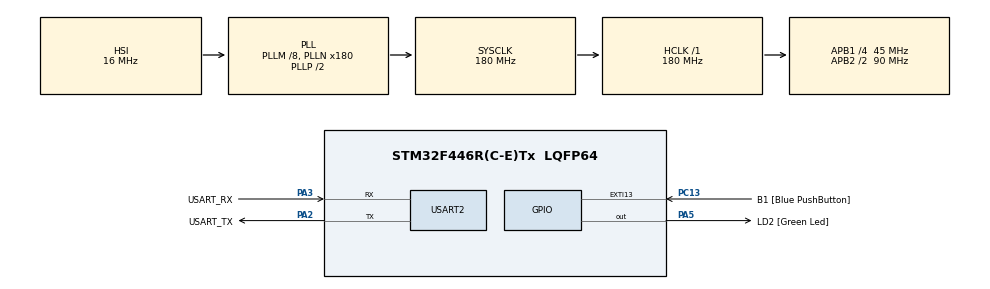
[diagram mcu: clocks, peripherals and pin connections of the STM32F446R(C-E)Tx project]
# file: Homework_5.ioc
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Mcu.Family=STM32F4
Mcu.Name=STM32F446R(C-E)Tx
Mcu.Package=LQFP64
NVIC.PriorityGroup=NVIC_PRIORITYGROUP_0
PA13.GPIO_Label=TMS
PA13.Mode=Serial_Wire
PA13.Signal=SYS_JTMS-SWDIO
PA14.GPIO_Label=TCK
PA14.Mode=Serial_Wire
PA14.Signal=SYS_JTCK-SWCLK
PA2.GPIO_Label=USART_TX
PA2.Mode=Asynchronous
PA2.Signal=USART2_TX
PA3.GPIO_Label=USART_RX
PA3.Mode=Asynchronous
PA3.Signal=USART2_RX
PA5.GPIO_Label=LD2 [Green Led]
PA5.Signal=GPIO_Output
PB3.GPIO_Label=SWO
PB3.Signal=SYS_JTDO-SWO
PC13.GPIO_Label=B1 [Blue PushButton]
PC13.GPIO_ModeDefaultEXTI=GPIO_MODE_IT_FALLING
PC13.Signal=GPXTI13
PC14-OSC32_IN.Mode=LSE-External-Oscillator
PC14-OSC32_IN.Signal=RCC_OSC32_IN
PC15-OSC32_OUT.Mode=LSE-External-Oscillator
PC15-OSC32_OUT.Signal=RCC_OSC32_OUT
PH0-OSC_IN.Mode=HSE-External-Oscillator
PH0-OSC_IN.Signal=RCC_OSC_IN
PH1-OSC_OUT.Mode=HSE-External-Oscillator
PH1-OSC_OUT.Signal=RCC_OSC_OUT
ProjectManager.HeapSize=0x800
ProjectManager.StackSize=0x800
ProjectManager.TargetToolchain=STM32CubeIDE
RCC.48MHZClocksFreq_Value=84000000
RCC.AHBFreq_Value=180000000
RCC.APB1CLKDivider=RCC_HCLK_DIV4
RCC.APB1Freq_Value=45000000
RCC.APB1TimFreq_Value=90000000
RCC.APB2CLKDivider=RCC_HCLK_DIV2
RCC.APB2Freq_Value=90000000
RCC.APB2TimFreq_Value=180000000
RCC.CortexFreq_Value=180000000
RCC.FLatency-AdvancedSettings=FLASH_LATENCY_5
RCC.HCLKFreq_Value=180000000
RCC.HSE_VALUE=8000000
RCC.HSI_VALUE=16000000
RCC.PLLM=8
RCC.PLLN=180
RCC.PLLP=2
RCC.SYSCLKFreq_VALUE=180000000
RCC.SYSCLKSource=RCC_SYSCLKSOURCE_PLLCLK
RCC.USBFreq_Value=180000000
RCC.VCOOutputFreq_Value=360000000
STMicroelectronics.X-CUBE-AI.10.2.0.ActivationBufferSizeList=2788
STMicroelectronics.X-CUBE-AI.10.2.0.ActivationBuffers=pool0
STMicroelectronics.X-CUBE-AI.10.2.0.ActivationNames=pool0
STMicroelectronics.X-CUBE-AI.10.2.0.ActivationSizes=AI_NETWORK_DATA_ACTIVATION_1_SIZE
STMicroelectronics.X-CUBE-AI.10.2.0.HeapSize=0x800
STMicroelectronics.X-CUBE-AI.10.2.0.InternalRamActivationBufferMaxSize=AI_NETWORK_DATA_ACTIVATIONS_SIZE
STMicroelectronics.X-CUBE-AI.10.2.0.LatestDirectoryUsed-78f40277c6f292608998ed963c3e166811830ff1e5171788d631672048b49704=D\:\\Ozel\\stm\\Homework_5_1\\Python
STMicroelectronics.X-CUBE-AI.10.2.0.MaximumNumberOfInputLayer=1
STMicroelectronics.X-CUBE-AI.10.2.0.MaximumNumberOfOutputLayer=1
STMicroelectronics.X-CUBE-AI.10.2.0.MaximumSizeOfInputLayer=1
STMicroelectronics.X-CUBE-AI.10.2.0.MaximumSizeOfOutputLayer=1
STMicroelectronics.X-CUBE-AI.10.2.0.ModelActualCompression-78f40277c6f292608998ed963c3e166811830ff1e5171788d631672048b49704=0.0
STMicroelectronics.X-CUBE-AI.10.2.0.ModelCompression-78f40277c6f292608998ed963c3e166811830ff1e5171788d631672048b49704=None
STMicroelectronics.X-CUBE-AI.10.2.0.ModelFlashOccupation-78f40277c6f292608998ed963c3e166811830ff1e5171788d631672048b49704=60740
STMicroelectronics.X-CUBE-AI.10.2.0.ModelHashList=78f40277c6f292608998ed963c3e166811830ff1e5171788d631672048b49704
STMicroelectronics.X-CUBE-AI.10.2.0.ModelKind-78f40277c6f292608998ed963c3e166811830ff1e5171788d631672048b49704=TFLITE
STMicroelectronics.X-CUBE-AI.10.2.0.ModelMacc-78f40277c6f292608998ed963c3e166811830ff1e5171788d631672048b49704=12860
STMicroelectronics.X-CUBE-AI.10.2.0.ModelName-78f40277c6f292608998ed963c3e166811830ff1e5171788d631672048b49704=network
STMicroelectronics.X-CUBE-AI.10.2.0.ModelNameList=network
STMicroelectronics.X-CUBE-AI.10.2.0.ModelRamOccupation-78f40277c6f292608998ed963c3e166811830ff1e5171788d631672048b49704=2788
STMicroelectronics.X-CUBE-AI.10.2.0.ModelStructureFile-78f40277c6f292608998ed963c3e166811830ff1e5171788d631672048b49704=/D\:/Ozel/stm/Homework_5_1/Python/model.tflite
STMicroelectronics.X-CUBE-AI.10.2.0.ModelType-78f40277c6f292608998ed963c3e166811830ff1e5171788d631672048b49704=STM32Cube.AI MCU runtime
STMicroelectronics.X-CUBE-AI.10.2.0.ReadyForCodeGeneration=true
STMicroelectronics.X-CUBE-AI.10.2.0.StackSize=0x800
STMicroelectronics.X-CUBE-AI.10.2.0.WorkingBufferStartAddrList=0xFFFFFFFF
STMicroelectronics.X-CUBE-AI.10.2.0.XAaCUBEAaAICcArtificialOoIntelligenceJjCore=true
STMicroelectronics.X-CUBE-AI.10.2.0.copyWeightToRam=false
STMicroelectronics.X-CUBE-AI.10.2.0.copyWeightToRam-78f40277c6f292608998ed963c3e166811830ff1e5171788d631672048b49704=false
STMicroelectronics.X-CUBE-AI.10.2.0.customLayerConfigEnabled=false
STMicroelectronics.X-CUBE-AI.10.2.0.customLayerConfigEnabled-78f40277c6f292608998ed963c3e166811830ff1e5171788d631672048b49704=false
STMicroelectronics.X-CUBE-AI.10.2.0.noOnnxIoTranspose=false
STMicroelectronics.X-CUBE-AI.10.2.0.noOnnxIoTranspose-78f40277c6f292608998ed963c3e166811830ff1e5171788d631672048b49704=false
STMicroelectronics.X-CUBE-AI.10.2.0.useInputAllocation=true
STMicroelectronics.X-CUBE-AI.10.2.0.useInputAllocation-78f40277c6f292608998ed963c3e166811830ff1e5171788d631672048b49704=true
STMicroelectronics.X-CUBE-AI.10.2.0.useOutputAllocation=true
STMicroelectronics.X-CUBE-AI.10.2.0.useOutputAllocation-78f40277c6f292608998ed963c3e166811830ff1e5171788d631672048b49704=true
USART2.VirtualMode=VM_ASYNC
VP_CRC_VS_CRC.Mode=CRC_Activate
VP_STMicroelectronics.X-CUBE-AI_VS_ArtificialOoIntelligenceJjXAaCUBEAaAI_10.2.0.Mode=ArtificialOoIntelligenceJjXAaCUBEAaAI
board=NUCLEO-F446RE

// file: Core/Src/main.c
/* USER CODE BEGIN Header */
/**
  ******************************************************************************
  * @file           : main.c
  * @brief          : Main program body
  ******************************************************************************
  * @attention
  *
  * Copyright (c) 2025 STMicroelectronics.
  * All rights reserved.
  *
  * This software is licensed under terms that can be found in the LICENSE file
  * in the root directory of this software component.
  * If no LICENSE file comes with this software, it is provided AS-IS.
  *
  ******************************************************************************
  */
/* USER CODE END Header */
#include "main.h"
#include "ai_platform.h"
#include "network.h"
#include "network_data.h"
#include "mfcc_data.h"
#include <math.h>
#include "mfcc_data.h"
/* USER CODE BEGIN Includes */
ai_u8 activation_data[AI_NETWORK_DATA_ACTIVATIONS_SIZE];
ai_float ai_in_data[AI_NETWORK_IN_1_SIZE];
ai_float ai_out_data[AI_NETWORK_OUT_1_SIZE];
ai_handle network = AI_HANDLE_NULL;
/* USER CODE END Includes */
int global_sonuc = -1;
int global_sayac = 0;
/* USER CODE BEGIN PTD */
float received_audio[6144]; // 6 parça ses bekliyoruz
float real_buf[1024]; // FFT Reel Kısmı
float imag_buf[1024]; // FFT Sanal Kısmı
float mel_buf[20];
/* USER CODE END PTD */

/* USER CODE BEGIN PD */

// FFT Handler

void pure_fft(float *real, float *imag, int n) {
    // 1. Bit-reversal Permutation
    int j = 0;
    for (int i = 0; i < n; i++) {
        if (j > i) {
            // Swap Real
            float temp = real[j]; real[j] = real[i]; real[i] = temp;
            // Swap Imag
            temp = imag[j]; imag[j] = imag[i]; imag[i] = temp;
        }
        int m = n / 2;
        while (m >= 1 && j >= m) {
            j -= m;
            m /= 2;
        }
        j += m;
    }

    // 2. Danielson-Lanczos (Butterfly)
    for (int m = 1; m < n; m *= 2) { // Adım boyutu
        float wm_r = cosf(M_PI / m); // W_m Real (Euler)
        float wm_i = -sinf(M_PI / m); // W_m Imag (Euler)

        // Trigonometrik yineleme için
        float w_r = 1.0f;
        float w_i = 0.0f;

        for (int k = 0; k < m; k++) { // Kelebek işlemleri
            for (int i = k; i < n; i += 2 * m) {
                int j = i + m;
                // Karmaşık çarpma: t = w * data[j]
                float t_r = w_r * real[j] - w_i * imag[j];
                float t_i = w_r * imag[j] + w_i * real[j];

                // Kelebek toplama/çıkarma
                float u_r = real[i];
                float u_i = imag[i];

                real[i] = u_r + t_r;
                imag[i] = u_i + t_i;
                real[j] = u_r - t_r;
                imag[j] = u_i - t_i;
            }
            // W değerini güncelle: w = w * wm
            float temp_r = w_r * wm_r - w_i * wm_i;
            w_i = w_r * wm_i + w_i * wm_r;
            w_r = temp_r;
        }
    }
}

// --- 2. MFCC ÇIKARMA FONKSİYONU ---
void Extract_Features_Pure(float* input_audio, float* mfcc_output) {

    // A. Pre-emphasis & Windowing
    float prev = input_audio[0] * 32768.0f;

    for (int i = 0; i < 1024; i++) {
        float current = input_audio[i] * 32768.0f;

        // Pre-emphasis
        float val = (i > 0) ? (current - 0.97f * prev) : current;
        prev = current;

        // Windowing
        real_buf[i] = val * hamming_window[i];
        imag_buf[i] = 0.0f;
    }

    // B. FFT
    pure_fft(real_buf, imag_buf, 1024);

    // C. Power Spectrum (|Mag|^2 / N)
    for(int i=0; i < 513; i++) {
        float mag_sq = (real_buf[i] * real_buf[i]) + (imag_buf[i] * imag_buf[i]);
        real_buf[i] = mag_sq / 512.0f;
    }

    // D. Mel Filterbank
    for (int i = 0; i < 20; i++) {
        float sum = 0.0f;
        for (int j = 0; j < 513; j++) {
            sum += mel_filters[i * 513 + j] * real_buf[j];
        }
        if (sum < 1e-6f) sum = 1e-6f;
        mel_buf[i] = 20.0f * log10f(sum);
    }

    // E. DCT (Matris Çarpımı)
    for (int i = 0; i < 13; i++) {
        float sum = 0.0f;
        for (int j = 0; j < 20; j++) {
            // Header dosyasından gelen dct_matrix
            sum += dct_matrix[i * 20 + j] * mel_buf[j];
        }
        mfcc_output[i] = sum;
    }
}
/* USER CODE END PD */

CRC_HandleTypeDef hcrc;

UART_HandleTypeDef huart2;

void SystemClock_Config(void);
static void MX_GPIO_Init(void);
static void MX_USART2_UART_Init(void);
static void MX_CRC_Init(void);

int main(void)
{
  HAL_Init();
  SystemClock_Config();
  MX_GPIO_Init();
  MX_USART2_UART_Init();
  MX_CRC_Init();
  ai_error err;
    ai_network_create(&network, AI_NETWORK_DATA_CONFIG);
    ai_network_params params = {
        .params = AI_NETWORK_DATA_WEIGHTS(ai_network_data_weights_get()),
        .activations = AI_NETWORK_DATA_ACTIVATIONS(activation_data)
    };
    ai_network_init(network, &params);

  /* USER CODE BEGIN WHILE */
    while (1)
      {

        if (HAL_UART_Receive(&huart2, (uint8_t*)received_audio, 6144 * sizeof(float), 5000) == HAL_OK)
        {
            float avg_mfcc[13] = {0.0f};
            int num_chunks = 6;

            for(int c=0; c<num_chunks; c++) {
                float temp_mfcc[13];
                Extract_Features_Pure(&received_audio[c*1024], temp_mfcc);
                for(int k=0; k<13; k++) avg_mfcc[k] += temp_mfcc[k];
            }

            for(int k=0; k<13; k++) ai_in_data[k] = avg_mfcc[k] / (float)num_chunks;

            ai_i32 n_batch;
            ai_buffer* net_inputs = ai_network_inputs_get(network, &n_batch);
            ai_buffer* net_outputs = ai_network_outputs_get(network, &n_batch);

            ai_buffer ai_input_buf = net_inputs[0];
            ai_buffer ai_output_buf = net_outputs[0];

            ai_input_buf.data = AI_HANDLE_PTR(ai_in_data);
            ai_output_buf.data = AI_HANDLE_PTR(ai_out_data);

            ai_i32 batch = ai_network_run(network, &ai_input_buf, &ai_output_buf);

            if (batch != 1) {
                 global_sonuc = -2; // Hata
            } else {
                // Sonucu Bul (Argmax)
                float max_val = -100.0f;
                int max_idx = -1;
                for(int i=0; i < AI_NETWORK_OUT_1_SIZE; i++) {
                    if (ai_out_data[i] > max_val) {
                        max_val = ai_out_data[i];
                        max_idx = i;
                    }
                }
                global_sonuc = max_idx;

                if(global_sayac < 1000) global_sayac = 1000;
                global_sayac++;
            }
        }
        /* USER CODE END WHILE */
      }
  /* USER CODE END 3 */
}

void SystemClock_Config(void)
{
  RCC_OscInitTypeDef RCC_OscInitStruct = {0};
  RCC_ClkInitTypeDef RCC_ClkInitStruct = {0};

  /** Configure the main internal regulator output voltage
  */
  __HAL_RCC_PWR_CLK_ENABLE();
  __HAL_PWR_VOLTAGESCALING_CONFIG(PWR_REGULATOR_VOLTAGE_SCALE1);

  /** Initializes the RCC Oscillators according to the specified parameters
  * in the RCC_OscInitTypeDef structure.
  */
  RCC_OscInitStruct.OscillatorType = RCC_OSCILLATORTYPE_HSI;
  RCC_OscInitStruct.HSIState = RCC_HSI_ON;
  RCC_OscInitStruct.HSICalibrationValue = RCC_HSICALIBRATION_DEFAULT;
  RCC_OscInitStruct.PLL.PLLState = RCC_PLL_ON;
  RCC_OscInitStruct.PLL.PLLSource = RCC_PLLSOURCE_HSI;
  RCC_OscInitStruct.PLL.PLLM = 8;
  RCC_OscInitStruct.PLL.PLLN = 180;
  RCC_OscInitStruct.PLL.PLLP = 2;
  RCC_OscInitStruct.PLL.PLLQ = 2;
  RCC_OscInitStruct.PLL.PLLR = 2;
  if (HAL_RCC_OscConfig(&RCC_OscInitStruct) != HAL_OK)
  {
    Error_Handler();
  }

  /** Activate the Over-Drive mode
  */
  if (HAL_PWREx_EnableOverDrive() != HAL_OK)
  {
    Error_Handler();
  }

  /** Initializes the CPU, AHB and APB buses clocks
  */
  RCC_ClkInitStruct.ClockType = RCC_CLOCKTYPE_HCLK|RCC_CLOCKTYPE_SYSCLK
                              |RCC_CLOCKTYPE_PCLK1|RCC_CLOCKTYPE_PCLK2;
  RCC_ClkInitStruct.SYSCLKSource = RCC_SYSCLKSOURCE_PLLCLK;
  RCC_ClkInitStruct.AHBCLKDivider = RCC_SYSCLK_DIV1;
  RCC_ClkInitStruct.APB1CLKDivider = RCC_HCLK_DIV4;
  RCC_ClkInitStruct.APB2CLKDivider = RCC_HCLK_DIV2;

  if (HAL_RCC_ClockConfig(&RCC_ClkInitStruct, FLASH_LATENCY_5) != HAL_OK)
  {
    Error_Handler();
  }
}

static void MX_CRC_Init(void)
{

  hcrc.Instance = CRC;
  if (HAL_CRC_Init(&hcrc) != HAL_OK)
  {
    Error_Handler();
  }

}

static void MX_USART2_UART_Init(void)
{

  huart2.Instance = USART2;
  huart2.Init.BaudRate = 115200;
  huart2.Init.WordLength = UART_WORDLENGTH_8B;
  huart2.Init.StopBits = UART_STOPBITS_1;
  huart2.Init.Parity = UART_PARITY_NONE;
  huart2.Init.Mode = UART_MODE_TX_RX;
  huart2.Init.HwFlowCtl = UART_HWCONTROL_NONE;
  huart2.Init.OverSampling = UART_OVERSAMPLING_16;
  if (HAL_UART_Init(&huart2) != HAL_OK)
  {
    Error_Handler();
  }

}

static void MX_GPIO_Init(void)
{
  GPIO_InitTypeDef GPIO_InitStruct = {0};

  /* GPIO Ports Clock Enable */
  __HAL_RCC_GPIOC_CLK_ENABLE();
  __HAL_RCC_GPIOH_CLK_ENABLE();
  __HAL_RCC_GPIOA_CLK_ENABLE();
  __HAL_RCC_GPIOB_CLK_ENABLE();

  /*Configure GPIO pin Output Level */
  HAL_GPIO_WritePin(LD2_GPIO_Port, LD2_Pin, GPIO_PIN_RESET);

  /*Configure GPIO pin : B1_Pin */
  GPIO_InitStruct.Pin = B1_Pin;
  GPIO_InitStruct.Mode = GPIO_MODE_IT_FALLING;
  GPIO_InitStruct.Pull = GPIO_NOPULL;
  HAL_GPIO_Init(B1_GPIO_Port, &GPIO_InitStruct);

  /*Configure GPIO pin : LD2_Pin */
  GPIO_InitStruct.Pin = LD2_Pin;
  GPIO_InitStruct.Mode = GPIO_MODE_OUTPUT_PP;
  GPIO_InitStruct.Pull = GPIO_NOPULL;
  GPIO_InitStruct.Speed = GPIO_SPEED_FREQ_LOW;
  HAL_GPIO_Init(LD2_GPIO_Port, &GPIO_InitStruct);

}

void Error_Handler(void)
{
  __disable_irq();
  while (1)
  {
  }
}
